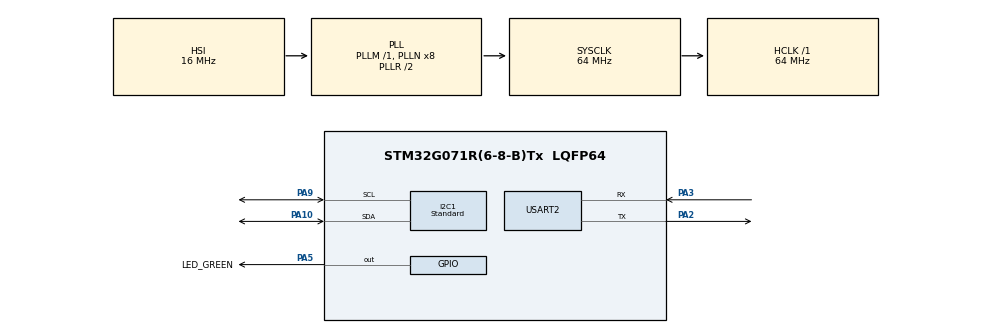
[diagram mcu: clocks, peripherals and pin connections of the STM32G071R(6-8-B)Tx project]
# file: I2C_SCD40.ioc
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I2C1.I2C_Speed_Mode=I2C_Standard
I2C1.Timing=0x10B17DB5
Mcu.Family=STM32G0
Mcu.Name=STM32G071R(6-8-B)Tx
Mcu.Package=LQFP64
PA10.GPIO_Pu=GPIO_PULLUP
PA10.Mode=I2C
PA10.Signal=I2C1_SDA
PA13.GPIO_Label=TMS
PA13.Mode=Serial_Wire
PA13.Signal=SYS_SWDIO
PA14-BOOT0.GPIO_Label=TCK
PA14-BOOT0.Mode=Serial_Wire
PA14-BOOT0.Signal=SYS_SWCLK
PA2.Mode=Asynchronous
PA2.Signal=USART2_TX
PA3.Mode=Asynchronous
PA3.Signal=USART2_RX
PA5.GPIO_Label=LED_GREEN
PA5.GPIO_Speed=GPIO_SPEED_FREQ_HIGH
PA5.Signal=GPIO_Output
PA9.GPIO_Pu=GPIO_PULLUP
PA9.Mode=I2C
PA9.Signal=I2C1_SCL
PC13.Mode=SYS_WakeUp1
PC13.Signal=SYS_WKUP2
PC14-OSC32_IN\ (PC14).Mode=LSE-External-Oscillator
PC14-OSC32_IN\ (PC14).Signal=RCC_OSC32_IN
PC15-OSC32_OUT\ (PC15).Mode=LSE-External-Oscillator
PC15-OSC32_OUT\ (PC15).Signal=RCC_OSC32_OUT
PF0-OSC_IN\ (PF0).GPIO_Label=MCO
PF0-OSC_IN\ (PF0).Mode=HSE-External-Oscillator
PF0-OSC_IN\ (PF0).Signal=RCC_OSC_IN
PF1-OSC_OUT\ (PF1).Mode=HSE-External-Oscillator
PF1-OSC_OUT\ (PF1).Signal=RCC_OSC_OUT
ProjectManager.HeapSize=0x200
ProjectManager.StackSize=0x400
ProjectManager.TargetToolchain=STM32CubeIDE
RCC.ADCFreq_Value=64000000
RCC.AHBFreq_Value=64000000
RCC.CortexFreq_Value=64000000
RCC.EXTERNAL_CLOCK_VALUE=12288000
RCC.HCLKFreq_Value=64000000
RCC.HSE_VALUE=8000000
RCC.HSI_VALUE=16000000
RCC.SYSCLKFreq_VALUE=64000000
RCC.SYSCLKSource=RCC_SYSCLKSOURCE_PLLCLK
RCC.VCOOutputFreq_Value=128000000
USART2.VirtualMode-Asynchronous=VM_ASYNC
board=NUCLEO-G071RB

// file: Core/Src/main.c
/* USER CODE BEGIN Header */
/**
  ******************************************************************************
  * @file           : main.c
  * @brief          : Main program body
  ******************************************************************************
  * @attention
  *
  * Copyright (c) 2026 STMicroelectronics.
  * All rights reserved.
  *
  * This software is licensed under terms that can be found in the LICENSE file
  * in the root directory of this software component.
  * If no LICENSE file comes with this software, it is provided AS-IS.
  *
  ******************************************************************************
  */
/* USER CODE END Header */
#include "main.h"

/* USER CODE BEGIN Includes */
#include "scd4x_i2c.h"
#include "sensirion_i2c_hal.h"
#include <stdio.h>
#include <string.h>
/* USER CODE END Includes */

I2C_HandleTypeDef hi2c1;

UART_HandleTypeDef huart2;

/* USER CODE BEGIN PV */
char data[100]={'\0'};
float temp=0;
float co2=0;
float hum=0;

int32_t temp_raw;
uint16_t co2_raw;
int32_t hum_raw;

uint32_t last_time=0;
/* USER CODE END PV */

void SystemClock_Config(void);
static void MX_GPIO_Init(void);
static void MX_USART2_UART_Init(void);
static void MX_I2C1_Init(void);

int main(void)
{

  /* MCU Configuration--------------------------------------------------------*/

  /* Reset of all peripherals, Initializes the Flash interface and the Systick. */
  HAL_Init();

  /* Configure the system clock */
  SystemClock_Config();

  /* Initialize all configured peripherals */
  MX_GPIO_Init();
  MX_USART2_UART_Init();
  MX_I2C1_Init();
  /* USER CODE BEGIN 2 */
  scd4x_init(0x62); // ALWAYS DO THIS!!!!

   scd4x_start_periodic_measurement();

    HAL_Delay(5000);
  /* USER CODE END 2 */

  /* Infinite loop */
  /* USER CODE BEGIN WHILE */
  while (1)
  {

	  if(HAL_GetTick()-last_time>=5000){ //delay 1s

		 scd4x_read_measurement(&co2_raw, &temp_raw, &hum_raw);
		  co2=co2_raw;
		  temp=temp_raw/1000.0f;
		 hum=hum_raw/1000.0f;

		  sprintf(data,"Co2=%.2f ppm, Temp=%.2f C, Humidity=%.2f percentage \r\n",co2,temp,hum);
		  HAL_UART_Transmit(&huart2,(uint8_t *)data,strlen(data),100);
		  last_time=HAL_GetTick();

	  }

    /* USER CODE END WHILE */

  }
}

void SystemClock_Config(void)
{
  RCC_OscInitTypeDef RCC_OscInitStruct = {0};
  RCC_ClkInitTypeDef RCC_ClkInitStruct = {0};

  /** Configure the main internal regulator output voltage
  */
  HAL_PWREx_ControlVoltageScaling(PWR_REGULATOR_VOLTAGE_SCALE1);

  /** Initializes the RCC Oscillators according to the specified parameters
  * in the RCC_OscInitTypeDef structure.
  */
  RCC_OscInitStruct.OscillatorType = RCC_OSCILLATORTYPE_HSI;
  RCC_OscInitStruct.HSIState = RCC_HSI_ON;
  RCC_OscInitStruct.HSIDiv = RCC_HSI_DIV1;
  RCC_OscInitStruct.HSICalibrationValue = RCC_HSICALIBRATION_DEFAULT;
  RCC_OscInitStruct.PLL.PLLState = RCC_PLL_ON;
  RCC_OscInitStruct.PLL.PLLSource = RCC_PLLSOURCE_HSI;
  RCC_OscInitStruct.PLL.PLLM = RCC_PLLM_DIV1;
  RCC_OscInitStruct.PLL.PLLN = 8;
  RCC_OscInitStruct.PLL.PLLP = RCC_PLLP_DIV2;
  RCC_OscInitStruct.PLL.PLLQ = RCC_PLLQ_DIV2;
  RCC_OscInitStruct.PLL.PLLR = RCC_PLLR_DIV2;
  if (HAL_RCC_OscConfig(&RCC_OscInitStruct) != HAL_OK)
  {
    Error_Handler();
  }

  /** Initializes the CPU, AHB and APB buses clocks
  */
  RCC_ClkInitStruct.ClockType = RCC_CLOCKTYPE_HCLK|RCC_CLOCKTYPE_SYSCLK
                              |RCC_CLOCKTYPE_PCLK1;
  RCC_ClkInitStruct.SYSCLKSource = RCC_SYSCLKSOURCE_PLLCLK;
  RCC_ClkInitStruct.AHBCLKDivider = RCC_SYSCLK_DIV1;
  RCC_ClkInitStruct.APB1CLKDivider = RCC_HCLK_DIV1;

  if (HAL_RCC_ClockConfig(&RCC_ClkInitStruct, FLASH_LATENCY_2) != HAL_OK)
  {
    Error_Handler();
  }
}

static void MX_I2C1_Init(void)
{

  hi2c1.Instance = I2C1;
  hi2c1.Init.Timing = 0x10B17DB5;
  hi2c1.Init.OwnAddress1 = 0;
  hi2c1.Init.AddressingMode = I2C_ADDRESSINGMODE_7BIT;
  hi2c1.Init.DualAddressMode = I2C_DUALADDRESS_DISABLE;
  hi2c1.Init.OwnAddress2 = 0;
  hi2c1.Init.OwnAddress2Masks = I2C_OA2_NOMASK;
  hi2c1.Init.GeneralCallMode = I2C_GENERALCALL_DISABLE;
  hi2c1.Init.NoStretchMode = I2C_NOSTRETCH_DISABLE;
  if (HAL_I2C_Init(&hi2c1) != HAL_OK)
  {
    Error_Handler();
  }

  /** Configure Analogue filter
  */
  if (HAL_I2CEx_ConfigAnalogFilter(&hi2c1, I2C_ANALOGFILTER_ENABLE) != HAL_OK)
  {
    Error_Handler();
  }

  /** Configure Digital filter
  */
  if (HAL_I2CEx_ConfigDigitalFilter(&hi2c1, 0) != HAL_OK)
  {
    Error_Handler();
  }

}

static void MX_USART2_UART_Init(void)
{

  huart2.Instance = USART2;
  huart2.Init.BaudRate = 115200;
  huart2.Init.WordLength = UART_WORDLENGTH_8B;
  huart2.Init.StopBits = UART_STOPBITS_1;
  huart2.Init.Parity = UART_PARITY_NONE;
  huart2.Init.Mode = UART_MODE_TX_RX;
  huart2.Init.HwFlowCtl = UART_HWCONTROL_NONE;
  huart2.Init.OverSampling = UART_OVERSAMPLING_16;
  huart2.Init.OneBitSampling = UART_ONE_BIT_SAMPLE_DISABLE;
  huart2.Init.ClockPrescaler = UART_PRESCALER_DIV1;
  huart2.AdvancedInit.AdvFeatureInit = UART_ADVFEATURE_NO_INIT;
  if (HAL_UART_Init(&huart2) != HAL_OK)
  {
    Error_Handler();
  }
  if (HAL_UARTEx_SetTxFifoThreshold(&huart2, UART_TXFIFO_THRESHOLD_1_8) != HAL_OK)
  {
    Error_Handler();
  }
  if (HAL_UARTEx_SetRxFifoThreshold(&huart2, UART_RXFIFO_THRESHOLD_1_8) != HAL_OK)
  {
    Error_Handler();
  }
  if (HAL_UARTEx_DisableFifoMode(&huart2) != HAL_OK)
  {
    Error_Handler();
  }

}

static void MX_GPIO_Init(void)
{
  GPIO_InitTypeDef GPIO_InitStruct = {0};

  /* GPIO Ports Clock Enable */
  __HAL_RCC_GPIOC_CLK_ENABLE();
  __HAL_RCC_GPIOF_CLK_ENABLE();
  __HAL_RCC_GPIOA_CLK_ENABLE();

  /*Configure GPIO pin Output Level */
  HAL_GPIO_WritePin(LED_GREEN_GPIO_Port, LED_GREEN_Pin, GPIO_PIN_RESET);

  /*Configure GPIO pin : LED_GREEN_Pin */
  GPIO_InitStruct.Pin = LED_GREEN_Pin;
  GPIO_InitStruct.Mode = GPIO_MODE_OUTPUT_PP;
  GPIO_InitStruct.Pull = GPIO_NOPULL;
  GPIO_InitStruct.Speed = GPIO_SPEED_FREQ_HIGH;
  HAL_GPIO_Init(LED_GREEN_GPIO_Port, &GPIO_InitStruct);

}

void Error_Handler(void)
{
  __disable_irq();
  while (1)
  {
  }
}
